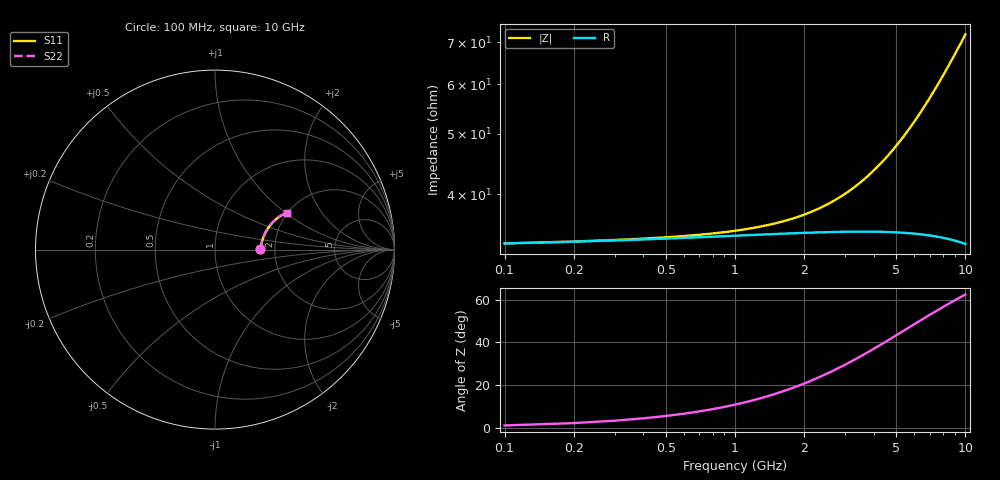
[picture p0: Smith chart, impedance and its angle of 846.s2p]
# Hz S RI R 50.00
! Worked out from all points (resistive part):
!   100 points, 100 MHz to 10 GHz, reference 50 ohm
!   read as one part in series: R = 33.4 ohm at 100 MHz
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1e8  0.2502 0.00287  0.7498 -0.00445  0.7498 -0.00445  0.2502 0.00287
2e8  0.2515 0.00571  0.7485 -0.00888  0.7485 -0.00888  0.2515 0.00571
3e8  0.2525 0.00854  0.7475 -0.0133  0.7475 -0.0133  0.2525 0.00854
9e8  0.2568 0.0253  0.7431 -0.0395  0.7431 -0.0395  0.2568 0.0253
1.2e9  0.2588 0.0336  0.741 -0.0526  0.741 -0.0526  0.2588 0.0336
1.5e9  0.261 0.0417  0.7387 -0.0655  0.7387 -0.0655  0.261 0.0417
1.8e9  0.2633 0.0498  0.7362 -0.0783  0.7362 -0.0783  0.2633 0.0498
2.2e9  0.2667 0.0605  0.7326 -0.0953  0.7326 -0.0953  0.2667 0.0605
2.6e9  0.2705 0.0709  0.7285 -0.1121  0.7285 -0.1121  0.2705 0.0709
3e9  0.2747 0.0811  0.724 -0.1286  0.724 -0.1286  0.2747 0.0811
3.4e9  0.2793 0.0911  0.7191 -0.1449  0.7191 -0.1449  0.2793 0.0911
3.8e9  0.2843 0.1008  0.7136 -0.161  0.7136 -0.161  0.2843 0.1008
4.2e9  0.2897 0.1102  0.7078 -0.1768  0.7078 -0.1768  0.2897 0.1102
4.6e9  0.2954 0.1193  0.7015 -0.1923  0.7015 -0.1923  0.2954 0.1193
5.1e9  0.3032 0.1303  0.6931 -0.2112  0.6931 -0.2112  0.3032 0.1303
5.9e9  0.3167 0.1467  0.6783 -0.2404  0.6783 -0.2404  0.3167 0.1467
6.7e9  0.3314 0.1616  0.6622 -0.2681  0.6622 -0.2681  0.3314 0.1616
7.2e9  0.3411 0.1702  0.6514 -0.2847  0.6514 -0.2847  0.3411 0.1702
7.6e9  0.3492 0.1765  0.6425 -0.2975  0.6425 -0.2975  0.3492 0.1765
8.4e9  0.3659 0.188  0.6239 -0.3219  0.6239 -0.3219  0.3659 0.188
9.2e9  0.3832 0.1979  0.6045 -0.3447  0.6045 -0.3447  0.3832 0.1979
1e10  0.4011 0.2061  0.5843 -0.3659  0.5843 -0.3659  0.4011 0.2061
